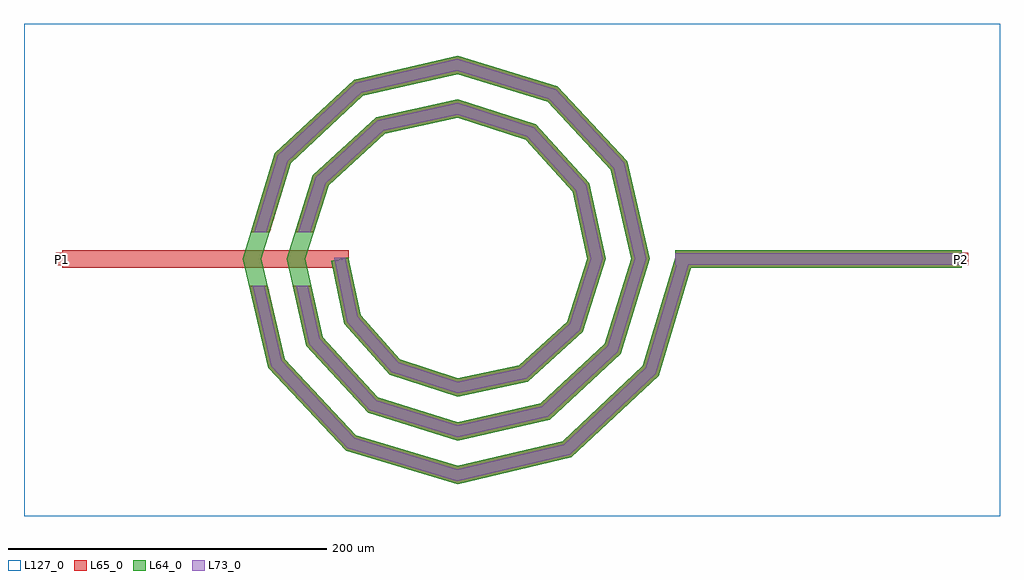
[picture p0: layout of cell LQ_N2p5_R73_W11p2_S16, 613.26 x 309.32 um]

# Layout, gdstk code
import gdstk
lib = gdstk.Library(unit=1e-6, precision=1e-09)
def R(c, l, rs):  # rectangles x0, y0, x1, y1
    for r in rs: c.add(gdstk.rectangle(r[:2], r[2:], *l))
def P(c, l, *ps):  # polygons
    for p in ps: c.add(gdstk.Polygon(p, *l))
L64_0 = (64, 0)
L65_0 = (65, 0)
L73_0 = (73, 0)
L127_0 = (127, 0)

lq_n2p5_r73_w11p2_s16 = lib.new_cell('LQ_N2p5_R73_W11p2_S16')
R(lq_n2p5_r73_w11p2_s16, L64_0, [(137.02,-5.6,317.02,5.6)])
P(lq_n2p5_r73_w11p2_s16, L64_0, [(-60.755,-35.453),(-36.043,-63.061),(0.307,-74.926),(38.868,-66.724),(69.004,-39.504),(81.803,0.283),(72.691,42.287),(42.961,74.949),(0.262,88.681),(-45.708,78.657),(-80.895,46.416),(-95.558,0.245),(-84.621,-49.132),(-49.869,-86.843),(0.229,-102.436),(52.558,-90.585),(92.793,-53.32),(109.313,0.215),(96.548,55.986),(56.77,98.742),(0.203,116.191),(-59.415,102.51),(-104.693,60.219),(-123.069,0.192),(-108.472,-62.844),(-63.666,-110.645),(0.183,-129.947),(66.275,-114.433),(116.596,-67.113),(137.257,1.612),(147.983,-1.612),(126.457,-73.214),(71.759,-124.65),(0.183,-141.537),(-69.783,-120.496),(-118.698,-68.312),(-134.658,0.192),(-114.534,66.352),(-64.864,112.746),(0.203,127.78),(62.923,108.572),(106.795,61.414),(120.902,0.215),(102.608,-59.495),(57.964,-100.845),(0.229,-114.023),(-56.068,-96.644),(-94.895,-54.511),(-107.144,0.245),(-90.679,52.642),(-51.057,88.946),(0.262,100.265),(49.219,84.712),(82.999,47.601),(93.387,0.283),(78.744,-45.798),(44.142,-77.053),(0.307,-86.507),(-42.381,-72.774),(-71.108,-40.679),(-79.322,-1.139),(-68.356,1.139)])
R(lq_n2p5_r73_w11p2_s16, L65_0, [(-248.239,-5.6,-68.239,5.6), (137.02,-5.6,317.02,5.6), (-252.239,-4,-244.239,4), (313.02,-4,321.02,4)])
P(lq_n2p5_r73_w11p2_s16, L65_0, [(-108.472,-62.844),(-63.666,-110.645),(0.183,-129.947),(66.275,-114.433),(116.596,-67.113),(137.257,1.612),(147.983,-1.612),(126.457,-73.214),(71.759,-124.65),(0.183,-141.537),(-69.783,-120.496),(-118.698,-68.312),(-130.699,-16.8),(-119.2,-16.8)],
  [(-84.622,-49.132),(-49.869,-86.843),(0.229,-102.436),(52.558,-90.585),(92.793,-53.32),(109.313,0.215),(96.548,55.986),(56.77,98.743),(0.203,116.191),(-59.415,102.51),(-104.693,60.219),(-117.9,16.8),(-129.607,16.8),(-114.534,66.353),(-64.864,112.746),(0.203,127.78),(62.923,108.572),(106.795,61.414),(120.902,0.215),(102.608,-59.495),(57.964,-100.845),(0.229,-114.023),(-56.068,-96.644),(-94.895,-54.512),(-103.331,-16.8),(-91.855,-16.8)],
  [(-36.043,-63.061),(0.307,-74.926),(38.868,-66.724),(69.004,-39.504),(81.803,0.283),(72.691,42.287),(42.961,74.949),(0.262,88.681),(-45.708,78.657),(-80.895,46.416),(-90.202,16.8),(-101.942,16.8),(-90.679,52.642),(-51.057,88.946),(0.262,100.266),(49.219,84.712),(82.999,47.601),(93.387,0.283),(78.744,-45.798),(44.142,-77.053),(0.307,-86.507),(-42.381,-72.774),(-71.109,-40.679),(-79.322,-1.139),(-68.356,1.139),(-60.755,-35.453)])
R(lq_n2p5_r73_w11p2_s16, L73_0, [(137.02,-3.6,317.02,3.6)])
P(lq_n2p5_r73_w11p2_s16, L73_0, [(-110.298,-63.821),(-64.758,-112.404),(0.117,-132.016),(67.255,-116.257),(118.357,-68.203),(139.172,1.036),(146.068,-1.036),(124.697,-72.125),(70.78,-122.825),(0.117,-139.467),(-68.691,-118.737),(-116.872,-67.336),(-128.646,-16.8),(-121.253,-16.8)],
  [(-86.456,-50.093),(-50.976,-88.594),(0.147,-104.505),(53.524,-92.417),(94.545,-54.423),(111.383,0.139),(98.378,56.955),(57.869,100.498),(0.131,118.261),(-60.388,104.338),(-106.451,61.314),(-119.991,16.8),(-127.516,16.8),(-112.777,65.257),(-63.891,110.918),(0.131,125.711),(61.824,106.816),(104.965,60.445),(118.832,0.139),(100.855,-58.392),(56.998,-99.013),(0.147,-111.954),(-54.961,-94.894),(-93.06,-53.551),(-101.282,-16.8),(-93.904,-16.8)],
  [(-37.175,-64.795),(0.197,-76.994),(39.81,-68.568),(70.743,-40.628),(83.872,0.182),(74.532,43.236),(44.079,76.692),(0.169,90.749),(-46.664,80.494),(-82.643,47.528),(-92.298,16.8),(-99.846,16.8),(-88.932,51.531),(-50.102,87.109),(0.169,98.197),(48.102,82.969),(81.158,46.652),(91.318,0.182),(77.005,-44.674),(43.2,-75.208),(0.197,-84.439),(-41.249,-71.039),(-69.26,-39.746),(-77.363,0.732),(-70.314,0.732),(-62.604,-36.386)])
R(lq_n2p5_r73_w11p2_s16, L127_0, [(-272.239,-161.537,341.02,147.78)])
lq_n2p5_r73_w11p2_s16.add(gdstk.Label('P2', (317.02,0), layer=65, texttype=0))
lq_n2p5_r73_w11p2_s16.add(gdstk.Label('P1', (-248.239,0), layer=65, texttype=0))
lq_n2p5_r73_w11p2_s16.add(gdstk.Label('P2', (321.02,0), layer=145, texttype=0))
lq_n2p5_r73_w11p2_s16.add(gdstk.Label('P1', (-252.239,0), layer=145, texttype=0))

lib.write_gds('LQ_N2p5_R73_W11p2_S16.gds')
